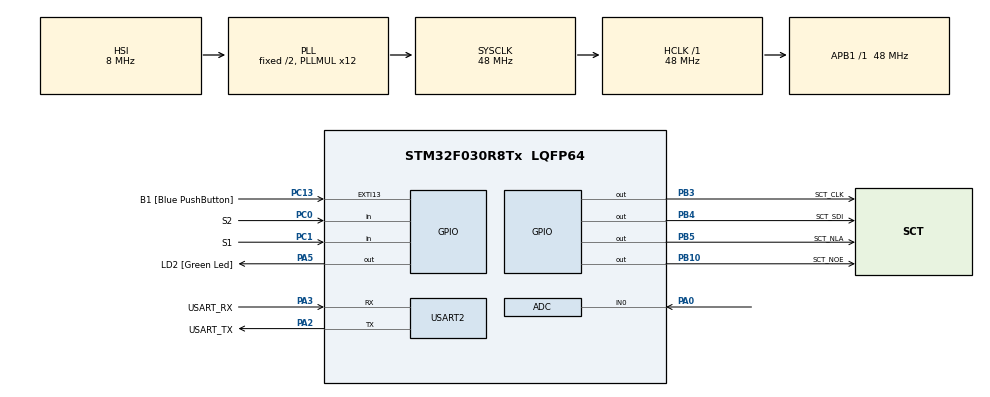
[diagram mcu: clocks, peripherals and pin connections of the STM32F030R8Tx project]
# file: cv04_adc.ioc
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ADC.ContinuousConvMode=ENABLE
ADC.Overrun=ADC_OVR_DATA_OVERWRITTEN
ADC.SamplingTime=ADC_SAMPLETIME_239CYCLES_5
Mcu.Family=STM32F0
Mcu.Name=STM32F030R8Tx
Mcu.Package=LQFP64
NVIC.ADC1_IRQn=true\:0\:0\:false\:false\:true\:true\:true\:true
PA0.Mode=IN0
PA0.Signal=ADC_IN0
PA13.GPIO_Label=TMS
PA13.Mode=Serial_Wire
PA13.Signal=SYS_SWDIO
PA14.GPIO_Label=TCK
PA14.Mode=Serial_Wire
PA14.Signal=SYS_SWCLK
PA2.GPIO_Label=USART_TX
PA2.GPIO_Mode=GPIO_MODE_AF_PP
PA2.GPIO_PuPd=GPIO_NOPULL
PA2.GPIO_Speed=GPIO_SPEED_FREQ_LOW
PA2.Mode=Asynchronous
PA2.Signal=USART2_TX
PA3.GPIO_Label=USART_RX
PA3.GPIO_Mode=GPIO_MODE_AF_PP
PA3.GPIO_PuPd=GPIO_NOPULL
PA3.GPIO_Speed=GPIO_SPEED_FREQ_LOW
PA3.Mode=Asynchronous
PA3.Signal=USART2_RX
PA5.GPIO_Label=LD2 [Green Led]
PA5.GPIO_Mode=GPIO_MODE_OUTPUT_PP
PA5.GPIO_PuPd=GPIO_NOPULL
PA5.GPIO_Speed=GPIO_SPEED_FREQ_LOW
PA5.Signal=GPIO_Output
PB10.GPIO_Label=SCT_NOE
PB10.Signal=GPIO_Output
PB3.GPIO_Label=SCT_CLK
PB3.Signal=GPIO_Output
PB4.GPIO_Label=SCT_SDI
PB4.Signal=GPIO_Output
PB5.GPIO_Label=SCT_NLA
PB5.Signal=GPIO_Output
PC0.GPIO_Label=S2
PC0.GPIO_Mode=GPIO_MODE_INPUT
PC0.GPIO_PuPd=GPIO_PULLUP
PC0.Signal=GPIO_Input
PC1.GPIO_Label=S1
PC1.GPIO_Mode=GPIO_MODE_INPUT
PC1.GPIO_PuPd=GPIO_PULLUP
PC1.Signal=GPIO_Input
PC13.GPIO_Label=B1 [Blue PushButton]
PC13.GPIO_ModeDefaultEXTI=GPIO_MODE_IT_FALLING
PC13.Signal=GPXTI13
PC14-OSC32_IN.Mode=LSE-External-Oscillator
PC14-OSC32_IN.Signal=RCC_OSC32_IN
PC15-OSC32_OUT.Mode=LSE-External-Oscillator
PC15-OSC32_OUT.Signal=RCC_OSC32_OUT
PF0-OSC_IN.Mode=HSE-External-Clock-Source
PF0-OSC_IN.Signal=RCC_OSC_IN
PF1-OSC_OUT.Signal=RCC_OSC_OUT
ProjectManager.HeapSize=0x200
ProjectManager.StackSize=0x400
ProjectManager.TargetToolchain=STM32CubeIDE
RCC.AHBFreq_Value=48000000
RCC.APB1Freq_Value=48000000
RCC.APB1TimFreq_Value=48000000
RCC.HCLKFreq_Value=48000000
RCC.PLLMUL=RCC_PLL_MUL12
RCC.SYSCLKFreq_VALUE=48000000
RCC.SYSCLKSource=RCC_SYSCLKSOURCE_PLLCLK
USART2.VirtualMode-Asynchronous=VM_ASYNC
VP_ADC_TempSens_Input.Mode=IN-TempSens
VP_ADC_Vref_Input.Mode=IN-Vrefint
board=NUCLEO-F030R8

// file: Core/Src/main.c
/* USER CODE BEGIN Header */
/**
 ******************************************************************************
 * @file           : main.c
 * @brief          : Main program body
 ******************************************************************************
 * @attention
 *
 * Copyright (c) 2023 STMicroelectronics.
 * All rights reserved.
 *
 * This software is licensed under terms that can be found in the LICENSE file
 * in the root directory of this software component.
 * If no LICENSE file comes with this software, it is provided AS-IS.
 *
 ******************************************************************************
 */
/* USER CODE END Header */
#include "main.h"

/* USER CODE BEGIN Includes */
#include "sct.h"
/* USER CODE END Includes */

/* USER CODE BEGIN PD */
#define ADC_Q 13
#define TEMP110_CAL_ADDR ((uint16_t*) ((uint32_t) 0x1FFFF7C2))
#define TEMP30_CAL_ADDR ((uint16_t*) ((uint32_t) 0x1FFFF7B8))
#define VREFINT_CAL_ADDR ((uint16_t*) ((uint32_t) 0x1FFFF7BA))

#define SHOW_TIME 1000;
/* USER CODE END PD */

ADC_HandleTypeDef hadc;

UART_HandleTypeDef huart2;

/* USER CODE BEGIN PV */
static volatile uint32_t raw_pot;
static volatile uint32_t raw_temp;
static volatile uint32_t raw_volt;
/* USER CODE END PV */

void SystemClock_Config(void);
static void MX_GPIO_Init(void);
static void MX_USART2_UART_Init(void);
static void MX_ADC_Init(void);

/* USER CODE BEGIN 0 */
volatile uint32_t Tick;

void HAL_ADC_ConvCpltCallback(ADC_HandleTypeDef* hadc)
{
	static volatile uint32_t avg_pot;
	static uint8_t channel = 0;

	switch (channel) {
	case 0: // potentiometer
		raw_pot = avg_pot >> ADC_Q;
		avg_pot -= raw_pot;
		avg_pot += HAL_ADC_GetValue(hadc);
		break;

	case 1: // thermometer
		raw_temp = HAL_ADC_GetValue(hadc);
		break;

	case 2: // vrefint
		raw_volt = HAL_ADC_GetValue(hadc);
		break;
	default:
		break;
	}

	if (__HAL_ADC_GET_FLAG(hadc, ADC_FLAG_EOS)) {
		channel = 0;
	}
	else {
		channel++;
	}
}
/* USER CODE END 0 */

int main(void)
{

  /* MCU Configuration--------------------------------------------------------*/

  /* Reset of all peripherals, Initializes the Flash interface and the Systick. */
  HAL_Init();

  /* Configure the system clock */
  SystemClock_Config();

  /* Initialize all configured peripherals */
  MX_GPIO_Init();
  MX_USART2_UART_Init();
  MX_ADC_Init();
  /* USER CODE BEGIN 2 */
	// initialisation of own peripherals after system driven initialisation
	sct_init();
	HAL_ADCEx_Calibration_Start(&hadc);
	HAL_ADC_Start_IT(&hadc);
  /* USER CODE END 2 */

  /* Infinite loop */
  /* USER CODE BEGIN WHILE */
	while (1)
	{
		Tick = HAL_GetTick();
		static enum { SHOW_POT, SHOW_VOLT, SHOW_TEMP } state = SHOW_POT;
		static uint32_t off_time;

		if (Tick > off_time) {
			state = SHOW_POT;
		}

		static uint32_t old_s2;
		uint32_t new_s2 = HAL_GPIO_ReadPin(S2_GPIO_Port, S2_Pin);
		if (old_s2 && !new_s2) {
			state = SHOW_VOLT;
			off_time = Tick + SHOW_TIME;
		}
		old_s2 = new_s2;

		static uint32_t old_s1;
		uint32_t new_s1 = HAL_GPIO_ReadPin(S1_GPIO_Port, S1_Pin);
		if (old_s1 && !new_s1) {
			state = SHOW_TEMP;
			off_time = Tick + SHOW_TIME;
		}
		old_s1 = new_s1;

		uint32_t positionValue = (raw_pot*500.95)/4095;
		uint32_t positionLED = (raw_pot*8.95)/4095;
		uint32_t voltage = 330 * (*VREFINT_CAL_ADDR) / raw_volt;

		int32_t temperature = (raw_temp - (int32_t)(*TEMP30_CAL_ADDR));
		temperature = temperature * (int32_t)(110 - 30);
		temperature = temperature / (int32_t)(*TEMP110_CAL_ADDR - *TEMP30_CAL_ADDR);
		temperature = temperature + 30;

		switch (state) {
		case SHOW_POT:
			sct_value(positionValue, positionLED);
			break;
		case SHOW_VOLT:
			sct_value(voltage, 0);
			break;
		case SHOW_TEMP:
			sct_value(temperature, 0);
			break;
		default:
			break;
		};

		//sct_value((raw_pot*500.95)/4095, (raw_pot*8.95)/4096);
		HAL_Delay(10);
    /* USER CODE END WHILE */

	}
}

void SystemClock_Config(void)
{
  RCC_OscInitTypeDef RCC_OscInitStruct = {0};
  RCC_ClkInitTypeDef RCC_ClkInitStruct = {0};

  /** Initializes the RCC Oscillators according to the specified parameters
  * in the RCC_OscInitTypeDef structure.
  */
  RCC_OscInitStruct.OscillatorType = RCC_OSCILLATORTYPE_HSI|RCC_OSCILLATORTYPE_HSI14;
  RCC_OscInitStruct.HSIState = RCC_HSI_ON;
  RCC_OscInitStruct.HSI14State = RCC_HSI14_ON;
  RCC_OscInitStruct.HSICalibrationValue = RCC_HSICALIBRATION_DEFAULT;
  RCC_OscInitStruct.HSI14CalibrationValue = 16;
  RCC_OscInitStruct.PLL.PLLState = RCC_PLL_ON;
  RCC_OscInitStruct.PLL.PLLSource = RCC_PLLSOURCE_HSI;
  RCC_OscInitStruct.PLL.PLLMUL = RCC_PLL_MUL12;
  RCC_OscInitStruct.PLL.PREDIV = RCC_PREDIV_DIV1;
  if (HAL_RCC_OscConfig(&RCC_OscInitStruct) != HAL_OK)
  {
    Error_Handler();
  }

  /** Initializes the CPU, AHB and APB buses clocks
  */
  RCC_ClkInitStruct.ClockType = RCC_CLOCKTYPE_HCLK|RCC_CLOCKTYPE_SYSCLK
                              |RCC_CLOCKTYPE_PCLK1;
  RCC_ClkInitStruct.SYSCLKSource = RCC_SYSCLKSOURCE_PLLCLK;
  RCC_ClkInitStruct.AHBCLKDivider = RCC_SYSCLK_DIV1;
  RCC_ClkInitStruct.APB1CLKDivider = RCC_HCLK_DIV1;

  if (HAL_RCC_ClockConfig(&RCC_ClkInitStruct, FLASH_LATENCY_1) != HAL_OK)
  {
    Error_Handler();
  }
}

static void MX_ADC_Init(void)
{

  ADC_ChannelConfTypeDef sConfig = {0};

  /** Configure the global features of the ADC (Clock, Resolution, Data Alignment and number of conversion)
  */
  hadc.Instance = ADC1;
  hadc.Init.ClockPrescaler = ADC_CLOCK_ASYNC_DIV1;
  hadc.Init.Resolution = ADC_RESOLUTION_12B;
  hadc.Init.DataAlign = ADC_DATAALIGN_RIGHT;
  hadc.Init.ScanConvMode = ADC_SCAN_DIRECTION_FORWARD;
  hadc.Init.EOCSelection = ADC_EOC_SINGLE_CONV;
  hadc.Init.LowPowerAutoWait = DISABLE;
  hadc.Init.LowPowerAutoPowerOff = DISABLE;
  hadc.Init.ContinuousConvMode = ENABLE;
  hadc.Init.DiscontinuousConvMode = DISABLE;
  hadc.Init.ExternalTrigConv = ADC_SOFTWARE_START;
  hadc.Init.ExternalTrigConvEdge = ADC_EXTERNALTRIGCONVEDGE_NONE;
  hadc.Init.DMAContinuousRequests = DISABLE;
  hadc.Init.Overrun = ADC_OVR_DATA_OVERWRITTEN;
  if (HAL_ADC_Init(&hadc) != HAL_OK)
  {
    Error_Handler();
  }

  /** Configure for the selected ADC regular channel to be converted.
  */
  sConfig.Channel = ADC_CHANNEL_0;
  sConfig.Rank = ADC_RANK_CHANNEL_NUMBER;
  sConfig.SamplingTime = ADC_SAMPLETIME_239CYCLES_5;
  if (HAL_ADC_ConfigChannel(&hadc, &sConfig) != HAL_OK)
  {
    Error_Handler();
  }

  /** Configure for the selected ADC regular channel to be converted.
  */
  sConfig.Channel = ADC_CHANNEL_TEMPSENSOR;
  if (HAL_ADC_ConfigChannel(&hadc, &sConfig) != HAL_OK)
  {
    Error_Handler();
  }

  /** Configure for the selected ADC regular channel to be converted.
  */
  sConfig.Channel = ADC_CHANNEL_VREFINT;
  if (HAL_ADC_ConfigChannel(&hadc, &sConfig) != HAL_OK)
  {
    Error_Handler();
  }

}

static void MX_USART2_UART_Init(void)
{

  huart2.Instance = USART2;
  huart2.Init.BaudRate = 38400;
  huart2.Init.WordLength = UART_WORDLENGTH_8B;
  huart2.Init.StopBits = UART_STOPBITS_1;
  huart2.Init.Parity = UART_PARITY_NONE;
  huart2.Init.Mode = UART_MODE_TX_RX;
  huart2.Init.HwFlowCtl = UART_HWCONTROL_NONE;
  huart2.Init.OverSampling = UART_OVERSAMPLING_16;
  huart2.Init.OneBitSampling = UART_ONE_BIT_SAMPLE_DISABLE;
  huart2.AdvancedInit.AdvFeatureInit = UART_ADVFEATURE_NO_INIT;
  if (HAL_UART_Init(&huart2) != HAL_OK)
  {
    Error_Handler();
  }

}

static void MX_GPIO_Init(void)
{
  GPIO_InitTypeDef GPIO_InitStruct = {0};

  /* GPIO Ports Clock Enable */
  __HAL_RCC_GPIOC_CLK_ENABLE();
  __HAL_RCC_GPIOF_CLK_ENABLE();
  __HAL_RCC_GPIOA_CLK_ENABLE();
  __HAL_RCC_GPIOB_CLK_ENABLE();

  /*Configure GPIO pin Output Level */
  HAL_GPIO_WritePin(LD2_GPIO_Port, LD2_Pin, GPIO_PIN_RESET);

  /*Configure GPIO pin Output Level */
  HAL_GPIO_WritePin(GPIOB, SCT_NOE_Pin|SCT_CLK_Pin|SCT_SDI_Pin|SCT_NLA_Pin, GPIO_PIN_RESET);

  /*Configure GPIO pin : B1_Pin */
  GPIO_InitStruct.Pin = B1_Pin;
  GPIO_InitStruct.Mode = GPIO_MODE_IT_FALLING;
  GPIO_InitStruct.Pull = GPIO_NOPULL;
  HAL_GPIO_Init(B1_GPIO_Port, &GPIO_InitStruct);

  /*Configure GPIO pins : S2_Pin S1_Pin */
  GPIO_InitStruct.Pin = S2_Pin|S1_Pin;
  GPIO_InitStruct.Mode = GPIO_MODE_INPUT;
  GPIO_InitStruct.Pull = GPIO_PULLUP;
  HAL_GPIO_Init(GPIOC, &GPIO_InitStruct);

  /*Configure GPIO pin : LD2_Pin */
  GPIO_InitStruct.Pin = LD2_Pin;
  GPIO_InitStruct.Mode = GPIO_MODE_OUTPUT_PP;
  GPIO_InitStruct.Pull = GPIO_NOPULL;
  GPIO_InitStruct.Speed = GPIO_SPEED_FREQ_LOW;
  HAL_GPIO_Init(LD2_GPIO_Port, &GPIO_InitStruct);

  /*Configure GPIO pins : SCT_NOE_Pin SCT_CLK_Pin SCT_SDI_Pin SCT_NLA_Pin */
  GPIO_InitStruct.Pin = SCT_NOE_Pin|SCT_CLK_Pin|SCT_SDI_Pin|SCT_NLA_Pin;
  GPIO_InitStruct.Mode = GPIO_MODE_OUTPUT_PP;
  GPIO_InitStruct.Pull = GPIO_NOPULL;
  GPIO_InitStruct.Speed = GPIO_SPEED_FREQ_LOW;
  HAL_GPIO_Init(GPIOB, &GPIO_InitStruct);

}

void Error_Handler(void)
{
	__disable_irq();
	while (1)
	{
	}
}
